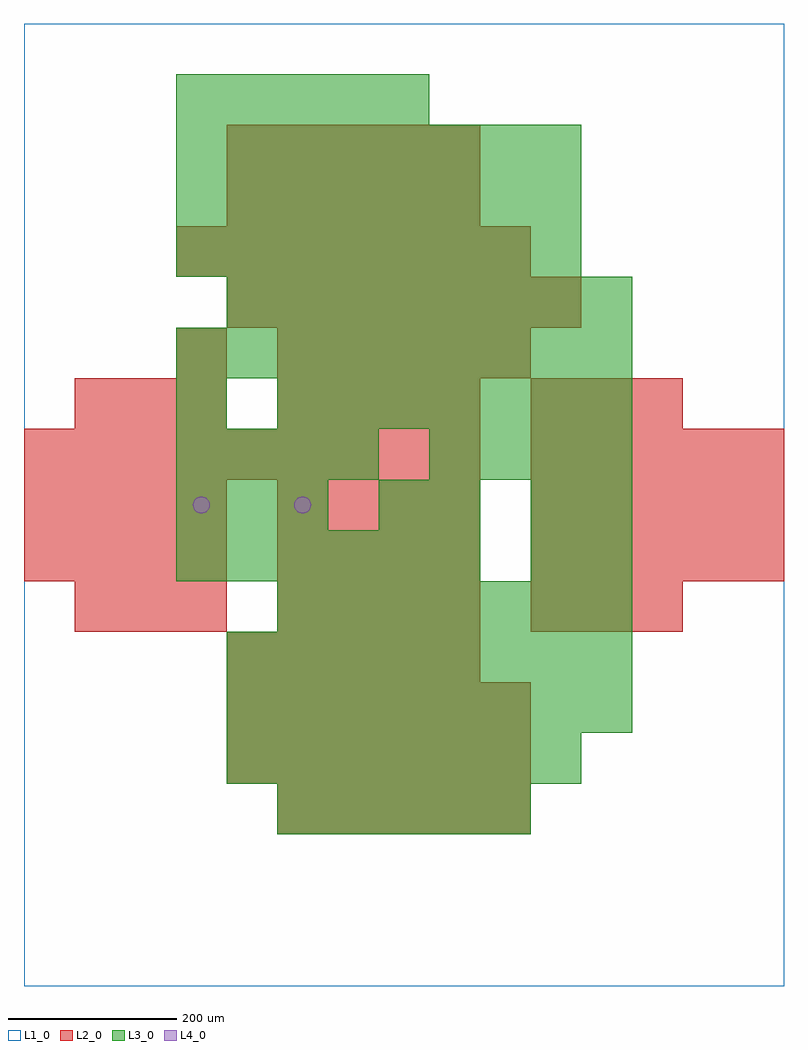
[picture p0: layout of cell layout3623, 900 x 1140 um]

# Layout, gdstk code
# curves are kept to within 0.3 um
import gdstk
lib = gdstk.Library(unit=1e-6, precision=1e-09)
def R(c, l, rs):  # rectangles x0, y0, x1, y1
    for r in rs: c.add(gdstk.rectangle(r[:2], r[2:], *l))
def A(c, l, x, y, w, h, nx, ny, dx, dy):  # array of equal rectangles
    R(c, l, [(x+i*dx, y+j*dy, x+i*dx+w, y+j*dy+h) for i in range(nx) for j in range(ny)])
def P(c, l, *ps):  # polygons
    for p in ps: c.add(gdstk.Polygon(p, *l))
L1_0 = (1, 0)
L2_0 = (2, 0)
L3_0 = (3, 0)
L4_0 = (4, 0)

layout3623 = lib.new_cell('layout3623')
R(layout3623, L1_0, [(0,0,900,1140)])
A(layout3623, L2_0, 300, 180, 60, 60, 5, 2, 60, 540)
A(layout3623, L2_0, 240, 240, 60, 60, 6, 2, 60, 60)
A(layout3623, L2_0, 240, 360, 60, 60, 5, 2, 60, 540)
A(layout3623, L2_0, 60, 420, 60, 60, 3, 2, 60, 240)
A(layout3623, L2_0, 300, 420, 60, 60, 4, 3, 60, 60)
A(layout3623, L2_0, 600, 420, 60, 60, 3, 2, 60, 240)
A(layout3623, L2_0, 0, 480, 60, 60, 4, 2, 60, 60)
A(layout3623, L2_0, 600, 480, 60, 60, 5, 3, 60, 60)
A(layout3623, L2_0, 0, 600, 60, 60, 9, 1, 60, 0)
A(layout3623, L2_0, 300, 660, 60, 60, 4, 1, 60, 0)
A(layout3623, L2_0, 240, 780, 60, 60, 7, 1, 60, 0)
A(layout3623, L2_0, 180, 840, 60, 60, 7, 1, 60, 0)
A(layout3623, L2_0, 240, 960, 60, 60, 5, 1, 60, 0)
R(layout3623, L2_0, [(180,720,240,780)])
A(layout3623, L3_0, 300, 180, 60, 60, 5, 1, 60, 0)
A(layout3623, L3_0, 240, 240, 60, 60, 7, 1, 60, 0)
A(layout3623, L3_0, 240, 300, 60, 60, 8, 2, 60, 60)
A(layout3623, L3_0, 300, 420, 60, 60, 7, 2, 60, 240)
A(layout3623, L3_0, 180, 480, 60, 60, 6, 1, 60, 0)
A(layout3623, L3_0, 180, 540, 60, 60, 3, 1, 60, 0)
A(layout3623, L3_0, 180, 600, 60, 60, 4, 1, 60, 0)
A(layout3623, L3_0, 480, 600, 60, 60, 4, 1, 60, 0)
A(layout3623, L3_0, 180, 720, 60, 60, 9, 1, 60, 0)
A(layout3623, L3_0, 240, 780, 60, 60, 8, 1, 60, 0)
A(layout3623, L3_0, 180, 840, 60, 60, 8, 3, 60, 60)
A(layout3623, L3_0, 180, 1020, 60, 60, 5, 1, 60, 0)
R(layout3623, L3_0, [(600,480,660,540), (660,480,720,540), (420,540,480,600), (480,540,540,600), (600,540,660,600), (660,540,720,600), (180,660,240,720)])
P(layout3623, L4_0, [(220,570),(219.239,573.827),(217.071,577.071),(213.827,579.239),(210,580),(206.173,579.239),(202.929,577.071),(200.761,573.827),(200,570),(200.761,566.173),(202.929,562.929),(206.173,560.761),(210,560),(213.827,560.761),(217.071,562.929),(219.239,566.173)],
  [(340,570),(339.239,573.827),(337.071,577.071),(333.827,579.239),(330,580),(326.173,579.239),(322.929,577.071),(320.761,573.827),(320,570),(320.761,566.173),(322.929,562.929),(326.173,560.761),(330,560),(333.827,560.761),(337.071,562.929),(339.239,566.173)])

lib.write_gds('layout3623.gds')
